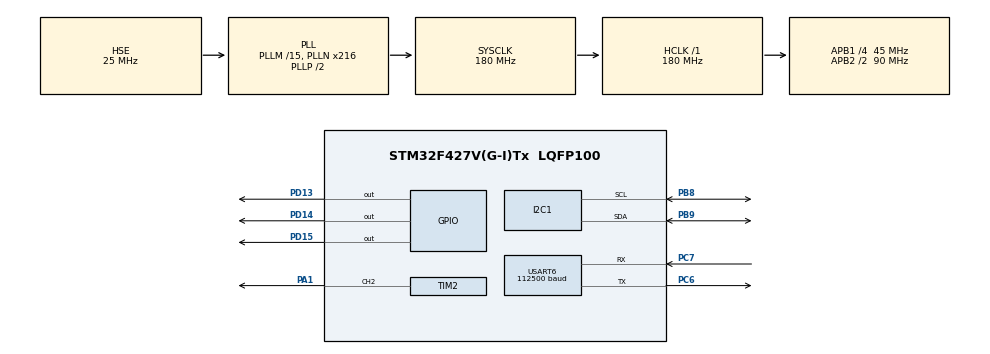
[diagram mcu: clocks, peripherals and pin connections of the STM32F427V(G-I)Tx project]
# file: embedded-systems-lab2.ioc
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Dma.I2C1_RX.1.Direction=DMA_PERIPH_TO_MEMORY
Dma.I2C1_RX.1.FIFOMode=DMA_FIFOMODE_DISABLE
Dma.I2C1_RX.1.Instance=DMA1_Stream0
Dma.I2C1_RX.1.MemDataAlignment=DMA_MDATAALIGN_BYTE
Dma.I2C1_RX.1.MemInc=DMA_MINC_ENABLE
Dma.I2C1_RX.1.Mode=DMA_NORMAL
Dma.I2C1_RX.1.PeriphDataAlignment=DMA_PDATAALIGN_BYTE
Dma.I2C1_RX.1.PeriphInc=DMA_PINC_DISABLE
Dma.I2C1_RX.1.Priority=DMA_PRIORITY_LOW
Dma.I2C1_TX.0.Direction=DMA_MEMORY_TO_PERIPH
Dma.I2C1_TX.0.FIFOMode=DMA_FIFOMODE_DISABLE
Dma.I2C1_TX.0.Instance=DMA1_Stream6
Dma.I2C1_TX.0.MemDataAlignment=DMA_MDATAALIGN_BYTE
Dma.I2C1_TX.0.MemInc=DMA_MINC_ENABLE
Dma.I2C1_TX.0.Mode=DMA_NORMAL
Dma.I2C1_TX.0.PeriphDataAlignment=DMA_PDATAALIGN_BYTE
Dma.I2C1_TX.0.PeriphInc=DMA_PINC_DISABLE
Dma.I2C1_TX.0.Priority=DMA_PRIORITY_LOW
Dma.Request0=I2C1_TX
Dma.Request1=I2C1_RX
Mcu.Family=STM32F4
Mcu.Name=STM32F427V(G-I)Tx
Mcu.Package=LQFP100
NVIC.DMA1_Stream0_IRQn=true\:0\:0\:false\:false\:true\:false\:true\:true
NVIC.DMA1_Stream6_IRQn=true\:0\:0\:false\:false\:true\:false\:true\:true
NVIC.I2C1_ER_IRQn=true\:0\:0\:false\:false\:true\:true\:true\:true
NVIC.I2C1_EV_IRQn=true\:0\:0\:false\:false\:true\:true\:true\:true
NVIC.PriorityGroup=NVIC_PRIORITYGROUP_4
PA1.Signal=S_TIM2_CH2
PA13.Mode=JTAG_5_pins
PA13.Signal=SYS_JTMS-SWDIO
PA14.Mode=JTAG_5_pins
PA14.Signal=SYS_JTCK-SWCLK
PA15.Mode=JTAG_5_pins
PA15.Signal=SYS_JTDI
PB3.Mode=JTAG_5_pins
PB3.Signal=SYS_JTDO-SWO
PB4.Mode=JTAG_5_pins
PB4.Signal=SYS_JTRST
PB8.GPIO_Pu=GPIO_PULLUP
PB8.Mode=I2C
PB8.Signal=I2C1_SCL
PB9.GPIO_Pu=GPIO_PULLUP
PB9.Mode=I2C
PB9.Signal=I2C1_SDA
PC6.Mode=Asynchronous
PC6.Signal=USART6_TX
PC7.Mode=Asynchronous
PC7.Signal=USART6_RX
PD13.Signal=GPIO_Output
PD14.Signal=GPIO_Output
PD15.Signal=GPIO_Output
PH0/OSC_IN.Mode=HSE-External-Oscillator
PH0/OSC_IN.Signal=RCC_OSC_IN
PH1/OSC_OUT.Mode=HSE-External-Oscillator
PH1/OSC_OUT.Signal=RCC_OSC_OUT
ProjectManager.HeapSize=0x200
ProjectManager.StackSize=0x400
ProjectManager.TargetToolchain=STM32CubeIDE
RCC.48MHZClocksFreq_Value=90000000
RCC.AHBFreq_Value=180000000
RCC.APB1CLKDivider=RCC_HCLK_DIV4
RCC.APB1Freq_Value=45000000
RCC.APB1TimFreq_Value=90000000
RCC.APB2CLKDivider=RCC_HCLK_DIV2
RCC.APB2Freq_Value=90000000
RCC.APB2TimFreq_Value=180000000
RCC.CortexFreq_Value=180000000
RCC.HCLKFreq_Value=180000000
RCC.HSE_VALUE=25000000
RCC.HSI_VALUE=16000000
RCC.LSE_VALUE=32768
RCC.PLLM=15
RCC.PLLN=216
RCC.PLLSourceVirtual=RCC_PLLSOURCE_HSE
RCC.SYSCLKFreq_VALUE=180000000
RCC.SYSCLKSource=RCC_SYSCLKSOURCE_PLLCLK
RCC.VCOOutputFreq_Value=360000000
RTC.Alarm=RTC_ALARM_A
RTC.Seconds_A=1
SH.S_TIM2_CH2.0=TIM2_CH2,PWM Generation2 CH2
TIM2.Channel-PWM\ Generation2\ CH2=TIM_CHANNEL_2
TIM2.Period=999
TIM2.Prescaler=89
TIM2.Pulse-PWM\ Generation2\ CH2=500
USART6.BaudRate=112500
USART6.VirtualMode=VM_ASYNC
VP_RTC_VS_RTC_Activate.Mode=RTC_Enabled
VP_RTC_VS_RTC_Alarm_A_Intern.Mode=Alarm A
VP_RTC_VS_RTC_Calendar.Mode=RTC_Calendar
board=custom

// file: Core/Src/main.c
/* USER CODE BEGIN Header */
/**
  ******************************************************************************
  * @file           : main.c
  * @brief          : Main program body
  ******************************************************************************
  * @attention
  *
  * Copyright (c) 2024 STMicroelectronics.
  * All rights reserved.
  *
  * This software is licensed under terms that can be found in the LICENSE file
  * in the root directory of this software component.
  * If no LICENSE file comes with this software, it is provided AS-IS.
  *
  ******************************************************************************
  */
/* USER CODE END Header */
#include "main.h"
#include "dma.h"
#include "i2c.h"
#include "rtc.h"
#include "tim.h"
#include "usart.h"
#include "gpio.h"
#include "tim.h"

/* USER CODE BEGIN Includes */
#include "oled.h"
#include "timer.h"
#include "fonts.h"
#include "keyboard.h"
#include "buzzer.h"
/* USER CODE END Includes */

void SystemClock_Config(void);
/* USER CODE BEGIN PFP */
void KB_Test( void );
void oled_Reset( void );
/* USER CODE END PFP */

uint32_t last_time;
int main(void)
{

  /* MCU Configuration--------------------------------------------------------*/

  /* Reset of all peripherals, Initializes the Flash interface and the Systick. */
  HAL_Init();

  /* Configure the system clock */
  SystemClock_Config();

  /* Initialize all configured peripherals */
  MX_GPIO_Init();
  MX_DMA_Init();
  MX_I2C1_Init();
  MX_RTC_Init();
  MX_USART6_UART_Init();
  MX_TIM2_Init();
  /* USER CODE BEGIN 2 */
  oled_Init();
  Buzzer_Init();
  last_time = HAL_GetTick();
  Buzzer_Set_Freq(370);

  /* USER CODE END 2 */

  /* Infinite loop */
  while (1)
  {

    /* USER CODE BEGIN 3 */
	  update_timer_time();
	  if (HAL_GetTick() - last_time >= 1000) {
		  last_time = HAL_GetTick();
		  timer_tick();
	  }

	  oled_Fill(Black);
	  oled_SetCursor(0, 0);

	  key_e key = get_pressed_key();
	  handle_key_click(&key);

	  time_s time = seconds_to_time(get_time());

	  oled_WriteTime(&time, Font_11x18, White);
	  oled_UpdateScreen();
  }
  /* USER CODE END 3 */
}

void SystemClock_Config(void)
{
  RCC_OscInitTypeDef RCC_OscInitStruct = {0};
  RCC_ClkInitTypeDef RCC_ClkInitStruct = {0};

  /** Configure the main internal regulator output voltage
  */
  __HAL_RCC_PWR_CLK_ENABLE();
  __HAL_PWR_VOLTAGESCALING_CONFIG(PWR_REGULATOR_VOLTAGE_SCALE1);

  /** Initializes the RCC Oscillators according to the specified parameters
  * in the RCC_OscInitTypeDef structure.
  */
  RCC_OscInitStruct.OscillatorType = RCC_OSCILLATORTYPE_LSI|RCC_OSCILLATORTYPE_HSE;
  RCC_OscInitStruct.HSEState = RCC_HSE_ON;
  RCC_OscInitStruct.LSIState = RCC_LSI_ON;
  RCC_OscInitStruct.PLL.PLLState = RCC_PLL_ON;
  RCC_OscInitStruct.PLL.PLLSource = RCC_PLLSOURCE_HSE;
  RCC_OscInitStruct.PLL.PLLM = 15;
  RCC_OscInitStruct.PLL.PLLN = 216;
  RCC_OscInitStruct.PLL.PLLP = RCC_PLLP_DIV2;
  RCC_OscInitStruct.PLL.PLLQ = 4;
  if (HAL_RCC_OscConfig(&RCC_OscInitStruct) != HAL_OK)
  {
    Error_Handler();
  }

  /** Activate the Over-Drive mode
  */
  if (HAL_PWREx_EnableOverDrive() != HAL_OK)
  {
    Error_Handler();
  }

  /** Initializes the CPU, AHB and APB buses clocks
  */
  RCC_ClkInitStruct.ClockType = RCC_CLOCKTYPE_HCLK|RCC_CLOCKTYPE_SYSCLK
                              |RCC_CLOCKTYPE_PCLK1|RCC_CLOCKTYPE_PCLK2;
  RCC_ClkInitStruct.SYSCLKSource = RCC_SYSCLKSOURCE_PLLCLK;
  RCC_ClkInitStruct.AHBCLKDivider = RCC_SYSCLK_DIV1;
  RCC_ClkInitStruct.APB1CLKDivider = RCC_HCLK_DIV4;
  RCC_ClkInitStruct.APB2CLKDivider = RCC_HCLK_DIV2;

  if (HAL_RCC_ClockConfig(&RCC_ClkInitStruct, FLASH_LATENCY_5) != HAL_OK)
  {
    Error_Handler();
  }
}

/* USER CODE BEGIN 4 */
void KB_Test( void ) {
	UART_Transmit( (uint8_t*)"KB test start\n" );
	uint8_t R = 0,
			C = 0,
			L = 0,
			Row[4] = {ROW4, ROW3, ROW2, ROW1},
			Key,
			OldKey,
			OLED_Keys[12] = {0x30,0x30,0x30,0x30,0x30,0x30,0x30,0x30,0x30,0x30,0x30,0x30};
	oled_Reset();
	OLED_KB(OLED_Keys);
	oled_UpdateScreen();
	for ( int i = 0; i < 4; i++ ) {
		while( !( R && C && L ) ) {
			OldKey = Key;
			Key = Check_Row( Row[i] );
			if ( Key == 0x01 && Key != OldKey) {
				UART_Transmit( (uint8_t*)"Right pressed\n" );
				R = 1;
				OLED_Keys[2+3*i] = 0x31;
				OLED_KB(OLED_Keys);
			} else if ( Key == 0x02 && Key != OldKey) {
				UART_Transmit( (uint8_t*)"Center pressed\n" );
				C = 1;
				OLED_Keys[1+3*i] = 0x31;
				OLED_KB(OLED_Keys);
			} else if ( Key == 0x04 && Key != OldKey) {
				UART_Transmit( (uint8_t*)"Left pressed\n" );
				L = 1;
				OLED_Keys[3*i] = 0x31;
				OLED_KB(OLED_Keys);
			}
		}
		UART_Transmit( (uint8_t*)"Row complete\n" );
		R = C = L = 0;
		HAL_Delay(25);
	}
	UART_Transmit( (uint8_t*)"KB test complete\n");
}

void MY_DRAW(uint8_t OLED_Keys[12]) {
	oled_Reset();
	for (int i = 0; i < 12; ++i) {
		oled_WriteChar(OLED_Keys[i], Font_7x10, White);
	}
	oled_UpdateScreen();
}

void OLED_KB( uint8_t OLED_Keys[12]) {
	for (int i = 3; i >= 0; i--) {
		oled_SetCursor(56, 5+(4-i)*10);
		for (int j = 0; j < 3; j++) {
			oled_WriteChar(OLED_Keys[j+3*i], Font_7x10, White);
		}
	}
	oled_UpdateScreen();
}
void oled_Reset( void ) {
	oled_Fill(Black);
	oled_SetCursor(0, 0);
	oled_UpdateScreen();
}
/* USER CODE END 4 */

void Error_Handler(void)
{
  __disable_irq();
  while (1)
  {
  }
}
